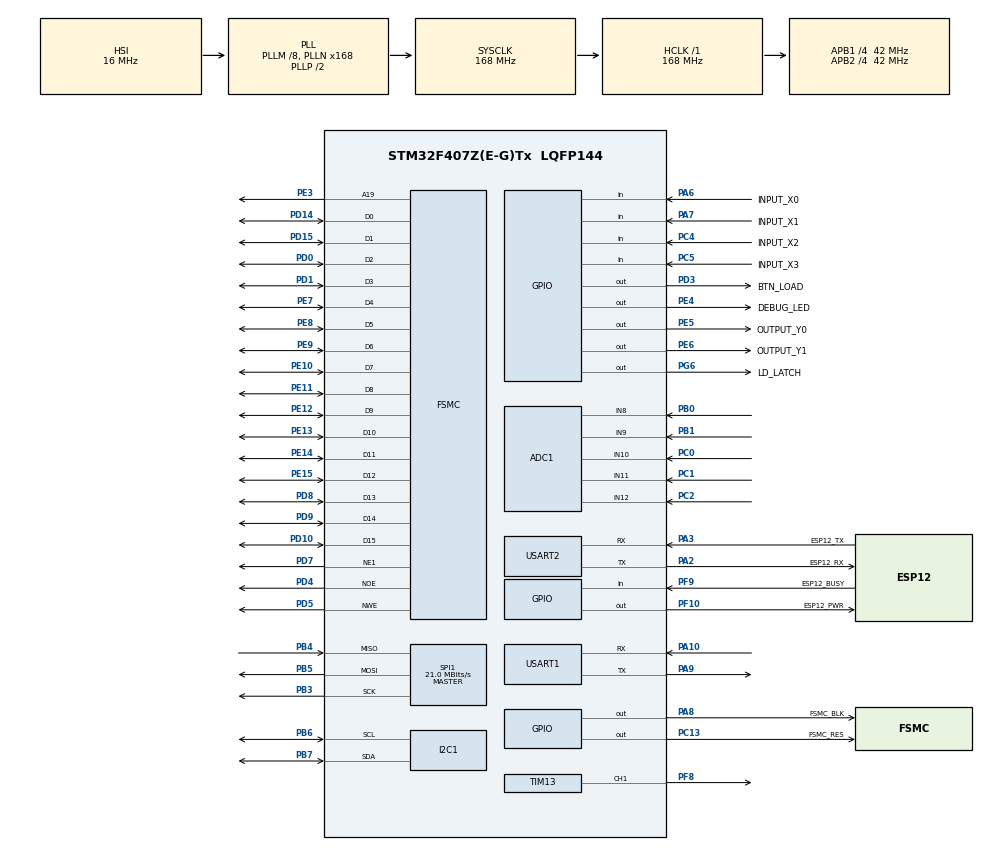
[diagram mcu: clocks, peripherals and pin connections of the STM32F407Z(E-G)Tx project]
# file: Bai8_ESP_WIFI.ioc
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ADC1.Channel-0\#ChannelRegularConversion=ADC_CHANNEL_8
ADC1.Channel-1\#ChannelRegularConversion=ADC_CHANNEL_9
ADC1.Channel-2\#ChannelRegularConversion=ADC_CHANNEL_10
ADC1.Channel-3\#ChannelRegularConversion=ADC_CHANNEL_11
ADC1.Channel-4\#ChannelRegularConversion=ADC_CHANNEL_12
ADC1.NbrOfConversion=5
ADC1.NbrOfConversionFlag=1
ADC1.Rank-0\#ChannelRegularConversion=1
ADC1.Rank-1\#ChannelRegularConversion=2
ADC1.Rank-2\#ChannelRegularConversion=3
ADC1.Rank-3\#ChannelRegularConversion=4
ADC1.Rank-4\#ChannelRegularConversion=5
ADC1.SamplingTime-0\#ChannelRegularConversion=ADC_SAMPLETIME_3CYCLES
ADC1.SamplingTime-1\#ChannelRegularConversion=ADC_SAMPLETIME_3CYCLES
ADC1.SamplingTime-2\#ChannelRegularConversion=ADC_SAMPLETIME_3CYCLES
ADC1.SamplingTime-3\#ChannelRegularConversion=ADC_SAMPLETIME_3CYCLES
ADC1.SamplingTime-4\#ChannelRegularConversion=ADC_SAMPLETIME_3CYCLES
ADC1.ScanConvMode=ENABLE
ADC1.master=1
Dma.ADC1.0.Direction=DMA_PERIPH_TO_MEMORY
Dma.ADC1.0.FIFOMode=DMA_FIFOMODE_DISABLE
Dma.ADC1.0.Instance=DMA2_Stream0
Dma.ADC1.0.MemDataAlignment=DMA_MDATAALIGN_HALFWORD
Dma.ADC1.0.MemInc=DMA_MINC_ENABLE
Dma.ADC1.0.Mode=DMA_CIRCULAR
Dma.ADC1.0.PeriphDataAlignment=DMA_PDATAALIGN_HALFWORD
Dma.ADC1.0.PeriphInc=DMA_PINC_DISABLE
Dma.ADC1.0.Priority=DMA_PRIORITY_LOW
Dma.Request0=ADC1
FSMC.AddressSetupTime1=0xf
FSMC.BusTurnAroundDuration1=0
FSMC.DataSetupTime1=60
FSMC.ExtendedAddressSetupTime1=8
FSMC.ExtendedBusTurnAroundDuration1=0
FSMC.ExtendedDataSetupTime1=9
FSMC.ExtendedMode1=FSMC_EXTENDED_MODE_ENABLE
Mcu.Family=STM32F4
Mcu.Name=STM32F407Z(E-G)Tx
Mcu.Package=LQFP144
NVIC.DMA2_Stream0_IRQn=true\:0\:0\:false\:false\:true\:false\:true\:true
NVIC.PriorityGroup=NVIC_PRIORITYGROUP_4
NVIC.TIM2_IRQn=true\:0\:0\:false\:false\:true\:true\:true\:true
NVIC.USART1_IRQn=true\:0\:0\:false\:false\:true\:true\:true\:true
NVIC.USART2_IRQn=true\:0\:0\:false\:false\:true\:true\:true\:true
PA10.Mode=Asynchronous
PA10.Signal=USART1_RX
PA13.Mode=Serial_Wire
PA13.Signal=SYS_JTMS-SWDIO
PA14.Mode=Serial_Wire
PA14.Signal=SYS_JTCK-SWCLK
PA2.GPIO_Label=ESP12_RX
PA2.Mode=Asynchronous
PA2.Signal=USART2_TX
PA3.GPIO_Label=ESP12_TX
PA3.Mode=Asynchronous
PA3.Signal=USART2_RX
PA6.GPIO_Label=INPUT_X0
PA6.Signal=GPIO_Input
PA7.GPIO_Label=INPUT_X1
PA7.Signal=GPIO_Input
PA8.GPIO_Label=FSMC_BLK
PA8.Signal=GPIO_Output
PA9.Mode=Asynchronous
PA9.Signal=USART1_TX
PB0.Signal=ADCx_IN8
PB1.Signal=ADCx_IN9
PB3.Mode=Full_Duplex_Master
PB3.Signal=SPI1_SCK
PB4.Mode=Full_Duplex_Master
PB4.Signal=SPI1_MISO
PB5.Mode=Full_Duplex_Master
PB5.Signal=SPI1_MOSI
PB6.Mode=I2C
PB6.Signal=I2C1_SCL
PB7.Mode=I2C
PB7.Signal=I2C1_SDA
PC0.Signal=ADCx_IN10
PC1.Signal=ADCx_IN11
PC13-ANTI_TAMP.GPIO_Label=FSMC_RES
PC13-ANTI_TAMP.Signal=GPIO_Output
PC2.Signal=ADCx_IN12
PC4.GPIO_Label=INPUT_X2
PC4.Signal=GPIO_Input
PC5.GPIO_Label=INPUT_X3
PC5.Signal=GPIO_Input
PD0.Signal=FSMC_D2_DA2
PD1.Signal=FSMC_D3_DA3
PD10.Signal=FSMC_D15_DA15
PD14.Signal=FSMC_D0_DA0
PD15.Signal=FSMC_D1_DA1
PD3.GPIO_Label=BTN_LOAD
PD3.Signal=GPIO_Output
PD4.Signal=FSMC_NOE
PD5.Signal=FSMC_NWE
PD7.Mode=NorPsramChipSelect1_1
PD7.Signal=FSMC_NE1
PD8.Signal=FSMC_D13_DA13
PD9.Signal=FSMC_D14_DA14
PE10.Signal=FSMC_D7_DA7
PE11.Signal=FSMC_D8_DA8
PE12.Signal=FSMC_D9_DA9
PE13.Signal=FSMC_D10_DA10
PE14.Signal=FSMC_D11_DA11
PE15.Signal=FSMC_D12_DA12
PE3.Signal=FSMC_A19
PE4.GPIO_Label=DEBUG_LED
PE4.Signal=GPIO_Output
PE5.GPIO_Label=OUTPUT_Y0
PE5.Signal=GPIO_Output
PE6.GPIO_Label=OUTPUT_Y1
PE6.Signal=GPIO_Output
PE7.Signal=FSMC_D4_DA4
PE8.Signal=FSMC_D5_DA5
PE9.Signal=FSMC_D6_DA6
PF10.GPIO_Label=ESP12_PWR
PF10.Signal=GPIO_Output
PF8.Signal=S_TIM13_CH1
PF9.GPIO_Label=ESP12_BUSY
PF9.Signal=GPIO_Input
PG6.GPIO_Label=LD_LATCH
PG6.Signal=GPIO_Output
PH0-OSC_IN.Mode=HSE-External-Oscillator
PH0-OSC_IN.Signal=RCC_OSC_IN
PH1-OSC_OUT.Mode=HSE-External-Oscillator
PH1-OSC_OUT.Signal=RCC_OSC_OUT
ProjectManager.HeapSize=0x200
ProjectManager.StackSize=0x400
ProjectManager.TargetToolchain=STM32CubeIDE
RCC.48MHZClocksFreq_Value=84000000
RCC.AHBFreq_Value=168000000
RCC.APB1CLKDivider=RCC_HCLK_DIV4
RCC.APB1Freq_Value=42000000
RCC.APB1TimFreq_Value=84000000
RCC.APB2CLKDivider=RCC_HCLK_DIV4
RCC.APB2Freq_Value=42000000
RCC.APB2TimFreq_Value=84000000
RCC.CortexFreq_Value=168000000
RCC.HCLKFreq_Value=168000000
RCC.HSE_VALUE=8000000
RCC.HSI_VALUE=16000000
RCC.LSE_VALUE=32768
RCC.PLLM=8
RCC.PLLN=168
RCC.SYSCLKFreq_VALUE=168000000
RCC.SYSCLKSource=RCC_SYSCLKSOURCE_PLLCLK
RCC.VCOOutputFreq_Value=336000000
SH.ADCx_IN10.0=ADC1_IN10,IN10
SH.ADCx_IN11.0=ADC1_IN11,IN11
SH.ADCx_IN12.0=ADC1_IN12,IN12
SH.ADCx_IN8.0=ADC1_IN8,IN8
SH.ADCx_IN9.0=ADC1_IN9,IN9
SH.FSMC_A19.0=FSMC_A19,A19_1
SH.FSMC_D0_DA0.0=FSMC_D0,16b-d1
SH.FSMC_D10_DA10.0=FSMC_D10,16b-d1
SH.FSMC_D11_DA11.0=FSMC_D11,16b-d1
SH.FSMC_D12_DA12.0=FSMC_D12,16b-d1
SH.FSMC_D13_DA13.0=FSMC_D13,16b-d1
SH.FSMC_D14_DA14.0=FSMC_D14,16b-d1
SH.FSMC_D15_DA15.0=FSMC_D15,16b-d1
SH.FSMC_D1_DA1.0=FSMC_D1,16b-d1
SH.FSMC_D2_DA2.0=FSMC_D2,16b-d1
SH.FSMC_D3_DA3.0=FSMC_D3,16b-d1
SH.FSMC_D4_DA4.0=FSMC_D4,16b-d1
SH.FSMC_D5_DA5.0=FSMC_D5,16b-d1
SH.FSMC_D6_DA6.0=FSMC_D6,16b-d1
SH.FSMC_D7_DA7.0=FSMC_D7,16b-d1
SH.FSMC_D8_DA8.0=FSMC_D8,16b-d1
SH.FSMC_D9_DA9.0=FSMC_D9,16b-d1
SH.FSMC_NOE.0=FSMC_NOE,Lcd1
SH.FSMC_NWE.0=FSMC_NWE,Lcd1
SH.S_TIM13_CH1.0=TIM13_CH1,PWM Generation1 CH1
SPI1.BaudRatePrescaler=SPI_BAUDRATEPRESCALER_2
SPI1.CalculateBaudRate=21.0 MBits/s
SPI1.Direction=SPI_DIRECTION_2LINES
SPI1.Mode=SPI_MODE_MASTER
SPI1.VirtualType=VM_MASTER
TIM13.Channel=TIM_CHANNEL_1
TIM13.Period=100-1
TIM13.Prescaler=840-1
TIM2.Period=100-1
TIM2.Prescaler=840-1
USART1.VirtualMode=VM_ASYNC
USART2.VirtualMode=VM_ASYNC
VP_TIM13_VS_ClockSourceINT.Mode=Enable_Timer
VP_TIM2_VS_ClockSourceINT.Mode=Internal
board=custom

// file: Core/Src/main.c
/* USER CODE BEGIN Header */
/**
  ******************************************************************************
  * @file           : main.c
  * @brief          : Main program body
  ******************************************************************************
  * @attention
  *
  * <h2><center>&copy; Copyright (c) 2023 STMicroelectronics.
  * All rights reserved.</center></h2>
  *
  * This software component is licensed by ST under BSD 3-Clause license,
  * the "License"; You may not use this file except in compliance with the
  * License. You may obtain a copy of the License at:
  *                        opensource.org/licenses/BSD-3-Clause
  *
  ******************************************************************************
  */
/* USER CODE END Header */
#include "main.h"
#include "adc.h"
#include "dma.h"
#include "i2c.h"
#include "spi.h"
#include "tim.h"
#include "usart.h"
#include "gpio.h"
#include "fsmc.h"

/* USER CODE BEGIN Includes */
#include "software_timer.h"
#include "led_7seg.h"
#include "button.h"
#include "lcd.h"
#include "picture.h"
#include "ds3231.h"
#include "sensor.h"
#include "buzzer.h"
#include "ex.h"
#include "uart.h"
#include "fsm.h"
/* USER CODE END Includes */

void SystemClock_Config(void);
/* USER CODE BEGIN PFP */
void system_init();
void test_LedDebug();
void test_Buzzer();
void test_Adc();
void displayTime();
void updateTime();
void send_to_esp();
/* USER CODE END PFP */

int main(void)
{

  /* MCU Configuration--------------------------------------------------------*/

  /* Reset of all peripherals, Initializes the Flash interface and the Systick. */
  HAL_Init();

  /* Configure the system clock */
  SystemClock_Config();

  /* Initialize all configured peripherals */
  MX_GPIO_Init();
  MX_DMA_Init();
  MX_SPI1_Init();
  MX_FSMC_Init();
  MX_I2C1_Init();
  MX_TIM13_Init();
  MX_TIM2_Init();
  MX_ADC1_Init();
  MX_USART1_UART_Init();
  MX_USART2_UART_Init();
  /* USER CODE BEGIN 2 */
  system_init();
  /* USER CODE END 2 */

  /* Infinite loop */
  /* USER CODE BEGIN WHILE */
 lcd_Clear(BLACK);
 updateTime();
 flag_timer4 = 1;
  while (1)
  {
	  //light(0,4095)
	  //Potentiometer(0,4095)
	  //voltage (V)
	  //current (mA)
	  //buzzer (0-99)
	  while(!flag_timer2);
	  flag_timer2 = 0;
	  button_Scan();
	  test_LedDebug();
	  test_Adc();
	  test_Buzzer();
	  ds3231_ReadTime();
	  displayTime();
	  fsm_machine();
	  send_to_esp();
	  /*if(isHumidity()){
		  buzzer_SetVolume(50);
	  }else{
		  buzzer_SetVolume(0);
	  }*/
    /* USER CODE END WHILE */

  }
}

void SystemClock_Config(void)
{
  RCC_OscInitTypeDef RCC_OscInitStruct = {0};
  RCC_ClkInitTypeDef RCC_ClkInitStruct = {0};

  /** Configure the main internal regulator output voltage
  */
  __HAL_RCC_PWR_CLK_ENABLE();
  __HAL_PWR_VOLTAGESCALING_CONFIG(PWR_REGULATOR_VOLTAGE_SCALE1);

  /** Initializes the RCC Oscillators according to the specified parameters
  * in the RCC_OscInitTypeDef structure.
  */
  RCC_OscInitStruct.OscillatorType = RCC_OSCILLATORTYPE_HSI;
  RCC_OscInitStruct.HSIState = RCC_HSI_ON;
  RCC_OscInitStruct.HSICalibrationValue = RCC_HSICALIBRATION_DEFAULT;
  RCC_OscInitStruct.PLL.PLLState = RCC_PLL_ON;
  RCC_OscInitStruct.PLL.PLLSource = RCC_PLLSOURCE_HSI;
  RCC_OscInitStruct.PLL.PLLM = 8;
  RCC_OscInitStruct.PLL.PLLN = 168;
  RCC_OscInitStruct.PLL.PLLP = RCC_PLLP_DIV2;
  RCC_OscInitStruct.PLL.PLLQ = 4;
  if (HAL_RCC_OscConfig(&RCC_OscInitStruct) != HAL_OK)
  {
    Error_Handler();
  }

  /** Initializes the CPU, AHB and APB buses clocks
  */
  RCC_ClkInitStruct.ClockType = RCC_CLOCKTYPE_HCLK|RCC_CLOCKTYPE_SYSCLK
                              |RCC_CLOCKTYPE_PCLK1|RCC_CLOCKTYPE_PCLK2;
  RCC_ClkInitStruct.SYSCLKSource = RCC_SYSCLKSOURCE_PLLCLK;
  RCC_ClkInitStruct.AHBCLKDivider = RCC_SYSCLK_DIV1;
  RCC_ClkInitStruct.APB1CLKDivider = RCC_HCLK_DIV4;
  RCC_ClkInitStruct.APB2CLKDivider = RCC_HCLK_DIV4;

  if (HAL_RCC_ClockConfig(&RCC_ClkInitStruct, FLASH_LATENCY_5) != HAL_OK)
  {
    Error_Handler();
  }
}

/* USER CODE BEGIN 4 */
void system_init(){
	  led7_init();
	  timer_init();
	  button_init();
	  lcd_init();
	  sensor_init();
	  buzzer_init();
	  uart_init_rs232();
	  uart_init_esp();
	  ds3231_init();
	  setTimer2(50);
}

uint8_t count_led_debug = 0;
uint8_t state_clock = 0;

void test_LedDebug(){
	count_led_debug = (count_led_debug + 1)%20;
	if(count_led_debug == 0){
		HAL_GPIO_TogglePin(DEBUG_LED_GPIO_Port, DEBUG_LED_Pin);
		if(state_clock ==0){
			led7_SetColon(1);
			state_clock = 1;
		}else{
			state_clock = 0;
			led7_SetColon(0);
		}
	}
}

uint8_t isButtonUp()
{
    if (button_count[3] == 1)
        return 1;
    else
        return 0;
}

uint8_t isButtonDown()
{
    if (button_count[7] == 1)
        return 1;
    else
        return 0;
}

uint8_t isButtonRight()
{
    if (button_count[11] == 1)
        return 1;
    else
        return 0;
}

uint8_t count_adc = 0;

void test_Adc(){
	count_adc = (count_adc + 1)%20;
	if(count_adc == 0){
		sensor_Read();
		lcd_ShowStr(10, 0, "Wattage:", RED, BLACK, 16, 0);
		lcd_ShowFloatNum(130, 0,getWattage(), 4, RED, BLACK, 16);
		if(!isLight()){
			lcd_ShowStr(10, 20, "Light:", RED, BLACK, 16, 0);
			lcd_ShowStr(130, 20,"Strong", RED, BLACK, 16, 0);
		}else{
			lcd_ShowStr(10, 20, "Light:", RED, BLACK, 16, 0);
			lcd_ShowStr(130, 20,"Weak  ", RED, BLACK, 16, 0);
		}
		//lcd_ShowStr(10, 140, "Light:", RED, BLACK, 16, 0);
		//lcd_ShowIntNum(130, 140, sensor_GetLight(), 4, RED, BLACK, 16);
		lcd_ShowStr(10, 40, "Potentiometer:", RED, BLACK, 16, 0);
		lcd_ShowFloatNum(130, 40, ((float)sensor_GetPotentiometer()/4095)*100, 4, RED, BLACK, 16);
		//lcd_ShowIntNum(130, 40, sensor_GetPotentiometer(), 4, RED, BLACK, 16);
		lcd_ShowStr(10, 60, "Temperature:", RED, BLACK, 16, 0);
		lcd_ShowFloatNum(130, 60,sensor_GetTemperature(), 4, RED, BLACK, 16);
	}
}

void test_Buzzer(){
	if(isButtonUp()){
		buzzer_SetVolume(50);
	}

	if(isButtonDown()){
		buzzer_SetVolume(0);
	}

	if(isButtonRight()){
		buzzer_SetVolume(25);
	}

}

void updateTime(){
	ds3231_Write(ADDRESS_YEAR, 23);
	ds3231_Write(ADDRESS_MONTH, 10);
	ds3231_Write(ADDRESS_DATE, 20);
	ds3231_Write(ADDRESS_DAY, 6);
	ds3231_Write(ADDRESS_HOUR, 20);
	ds3231_Write(ADDRESS_MIN, 11);
	ds3231_Write(ADDRESS_SEC, 23);
}

void displayTime(){
	lcd_ShowIntNum(70, 100, ds3231_hours, 2, GREEN, BLACK, 24);
	lcd_ShowIntNum(110, 100, ds3231_min, 2, GREEN, BLACK, 24);
	lcd_ShowIntNum(150, 100, ds3231_sec, 2, GREEN, BLACK, 24);
	lcd_ShowIntNum(20, 130, ds3231_day, 2, YELLOW, BLACK, 24);
	lcd_ShowIntNum(70, 130, ds3231_date, 2, YELLOW, BLACK, 24);
	lcd_ShowIntNum(110, 130, ds3231_month, 2, YELLOW, BLACK, 24);
	lcd_ShowIntNum(150, 130, ds3231_year, 2, YELLOW, BLACK, 24);

	led7_SetDigit(ds3231_hours/10, 0, 0);
	led7_SetDigit(ds3231_hours%10, 1, 0);
	led7_SetDigit(ds3231_min/10, 2, 0);
	led7_SetDigit(ds3231_min%10, 3, 0);

}

uint8_t count_esp = 0;

void send_to_esp(){
	count_esp = (count_esp + 1)%200;
	if(count_esp == 0){
		HAL_GPIO_TogglePin(OUTPUT_Y0_GPIO_Port, OUTPUT_Y0_Pin);
		uart_ESPSendString("S");
		uart_ESPSendString("T");
		int temp = (int)(sensor_GetTemperature()*100);
		uart_ESPSendNum(temp);
		uart_ESPSendString("#");
	}

}
/* USER CODE END 4 */

void Error_Handler(void)
{
  __disable_irq();
  while (1)
  {
  }
}
